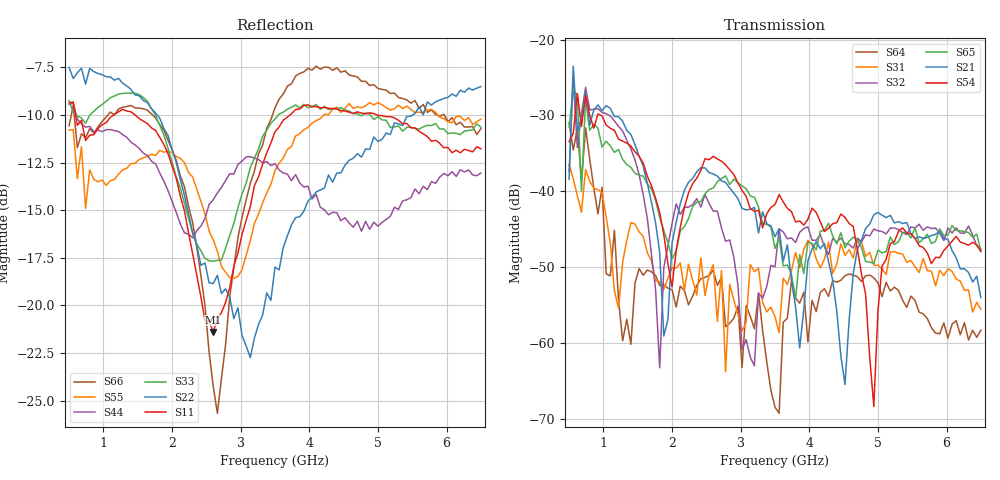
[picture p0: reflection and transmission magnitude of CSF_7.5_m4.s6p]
!Keysight Technologies,M9804A,MY58100912,A.14.10.03
!Date: Thursday, April 27, 2023 10:28:33
!Correction: S11(C  6-Port  )
!S12(C  6-Port  )
!S13(C  6-Port  )
!S14(C  6-Port  )
!S15(C  6-Port  )
!S16(C  6-Port  )
!S21(C  6-Port  )
!S22(C  6-Port  )
!S23(C  6-Port  )
!S24(C  6-Port  )
!S25(C  6-Port  )
!S26(C  6-Port  )
!S31(C  6-Port  )
!S32(C  6-Port  )
!S33(C  6-Port  )
!S34(C  6-Port  )
!S35(C  6-Port  )
!S36(C  6-Port  )
!S41(C  6-Port  )
!S42(C  6-Port  )
!S43(C  6-Port  )
!S44(C  6-Port  )
!S45(C  6-Port  )
!S46(C  6-Port  )
!S51(C  6-Port  )
!S52(C  6-Port  )
!S53(C  6-Port  )
!S54(C  6-Port  )
!S55(C  6-Port  )
!S56(C  6-Port  )
!S61(C  6-Port  )
!S62(C  6-Port  )
!S63(C  6-Port  )
!S64(C  6-Port  )
!S65(C  6-Port  )
!S66(C  6-Port  )
!S6P File: Measurement: :
# Hz S  RI  R 50
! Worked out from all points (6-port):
!   101 points, 500 MHz to 6.5 GHz, reference 50 ohm
!   strongest paths, dB at 500 MHz, 2 GHz, 3.5 GHz, 5 GHz, 6.5 GHz:
!     S54: -33.5, -52.6, -41.8, -55.8, -48.0
!     S21: -38.4, -46.8, -46.0, -42.8, -54.1
!     S65: -31.5, -48.9, -47.6, -47.8, -47.9
!     S32: -37.4, -44.3, -50.0, -45.2, -47.6
!     S31: -36.5, -50.1, -56.6, -49.8, -55.6
!     S64: -31.0, -53.0, -68.5, -52.1, -58.3
!   lowest |S11| = -21.4 dB at 2.6 GHz (marker M1), VSWR 1.19, Z = 42.5 + j2.28 ohm
!   |S11| at or under -10 dB: 593.6 MHz to 1.149 GHz (555.8 MHz wide, 63.8 % of centre); 1.464 GHz to 3.717 GHz (2.254 GHz wide, 87 % of centre); 4.988 GHz to end of sweep
